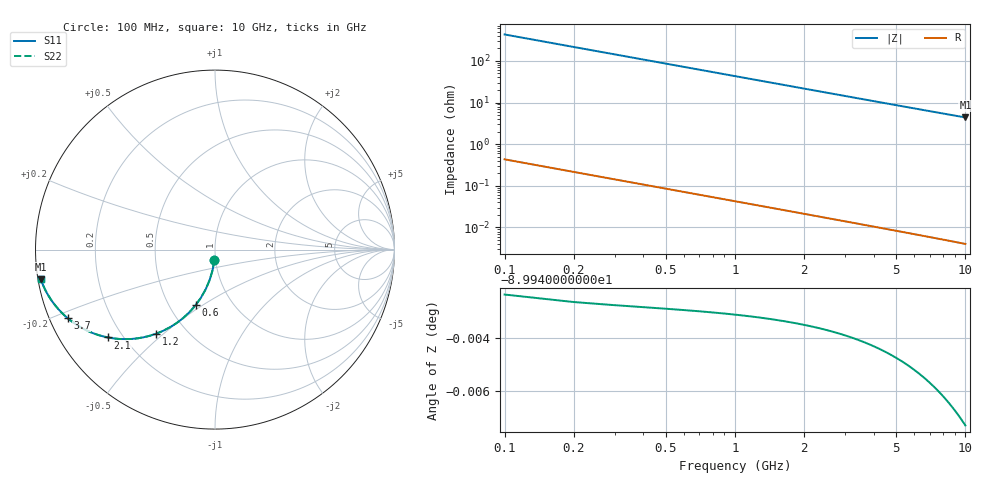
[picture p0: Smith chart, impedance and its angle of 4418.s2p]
# Hz S RI R 50.00
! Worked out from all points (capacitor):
!   100 points, 100 MHz to 10 GHz, reference 50 ohm
!   read as one part in shunt: C = 3.7 pF near 100 MHz
!   lowest |Z| = 4.38 ohm at 10 GHz (marker M1)
!   S11 on the Smith chart (normalised r, x): 100 MHz: 0.99, -0.11; 600 MHz: 0.67, -0.47; 1.2 GHz: 0.34, -0.47; 2.1 GHz: 0.14, -0.35; 3.7 GHz: 0.05, -0.22; 10 GHz: 0.01, -0.08
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1e8  -0.00341 -0.0579  0.9966 -0.0579  0.9966 -0.0579  -0.00341 -0.0579
2e8  -0.0134 -0.1146  0.9865 -0.1147  0.9865 -0.1147  -0.0134 -0.1146
3e8  -0.0296 -0.169  0.9703 -0.1692  0.9703 -0.1692  -0.0296 -0.169
4e8  -0.0514 -0.2203  0.9485 -0.2205  0.9485 -0.2205  -0.0514 -0.2203
5e8  -0.078 -0.2676  0.9219 -0.2679  0.9219 -0.2679  -0.078 -0.2676
6e8  -0.1086 -0.3105  0.8914 -0.3108  0.8914 -0.3108  -0.1086 -0.3105
7e8  -0.1421 -0.3485  0.8578 -0.3489  0.8578 -0.3489  -0.1421 -0.3485
9e8  -0.2149 -0.41  0.7851 -0.4105  0.7851 -0.4105  -0.2149 -0.41
1.2e9  -0.3271 -0.4684  0.6729 -0.469  0.6729 -0.469  -0.3271 -0.4684
1.5e9  -0.4315 -0.4944  0.5685 -0.4952  0.5685 -0.4952  -0.4315 -0.4944
1.8e9  -0.522 -0.4985  0.4779 -0.4995  0.4779 -0.4995  -0.522 -0.4985
2.1e9  -0.5977 -0.4893  0.4023 -0.4904  0.4023 -0.4904  -0.5977 -0.4893
2.4e9  -0.6598 -0.4726  0.3402 -0.4739  0.3402 -0.4739  -0.6598 -0.4726
2.7e9  -0.7104 -0.4524  0.2896 -0.4538  0.2896 -0.4538  -0.7104 -0.4524
3e9  -0.7517 -0.4308  0.2483 -0.4323  0.2483 -0.4323  -0.7517 -0.4308
3.4e9  -0.7953 -0.4021  0.2047 -0.4039  0.2047 -0.4039  -0.7953 -0.4021
3.7e9  -0.8214 -0.3816  0.1786 -0.3835  0.1786 -0.3835  -0.8214 -0.3816
4.3e9  -0.8612 -0.3441  0.1388 -0.3464  0.1388 -0.3464  -0.8612 -0.3441
5.1e9  -0.8971 -0.302  0.1029 -0.3047  0.1029 -0.3047  -0.8971 -0.302
6.7e9  -0.9375 -0.2397  0.0624 -0.2432  0.0624 -0.2432  -0.9375 -0.2397
8.4e9  -0.9593 -0.1948  0.0407 -0.1993  0.0407 -0.1993  -0.9593 -0.1948
1e10  -0.9709 -0.1648  0.029 -0.1702  0.029 -0.1702  -0.9709 -0.1648
